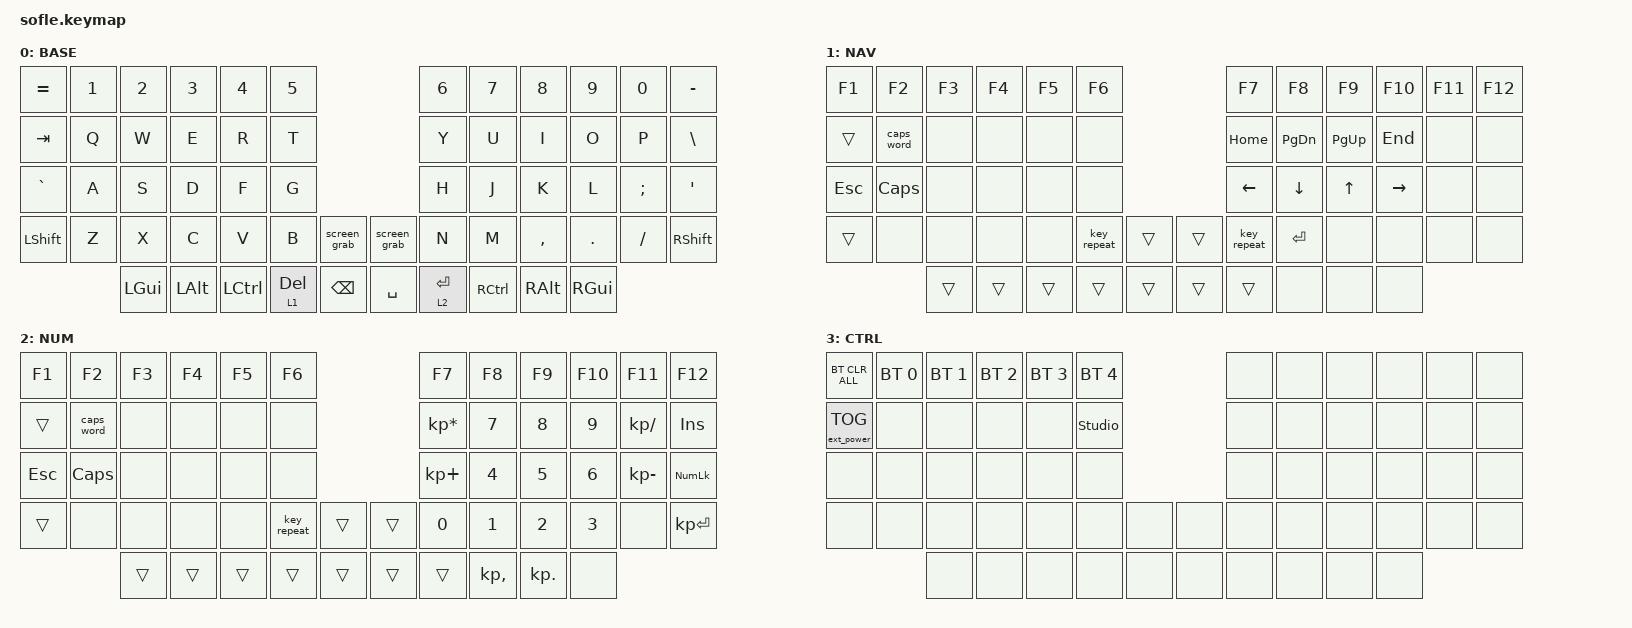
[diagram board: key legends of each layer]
/*
 * Copyright (c) 2020 The ZMK Contributors
 *
 * SPDX-License-Identifier: MIT
 */

#include <behaviors.dtsi>
#include <dt-bindings/zmk/bt.h>
#include <dt-bindings/zmk/ext_power.h>
#include <dt-bindings/zmk/keys.h>

#define BASE 0
#define LOWER 1
#define RAISE 2
#define ADJUST 3
#define extra_layer 4

/ {
    // Activate ADJUST layer by pressing raise and lower

    conditional_layers {
        compatible = "zmk,conditional-layers";

        control {
            if-layers = <1 2>;
            then-layer = <3>;
        };
    };

    combos {
        compatible = "zmk,combos";

        l_bracket {
            bindings = <&kp LEFT_BRACKET>;
            key-positions = <27 26>;
            layers = <0>;
        };

        r_bracket {
            bindings = <&kp RIGHT_BRACKET>;
            key-positions = <32 33>;
            layers = <0>;
        };

        escape {
            bindings = <&kp ESC>;
            key-positions = <15 14>;
            layers = <0>;
        };

        enter {
            bindings = <&kp ENTER>;
            key-positions = <46 47>;
            layers = <0>;
        };
    };

    behaviors {
        layer_switch: layer_switch {
            compatible = "zmk,behavior-tap-dance";
            label = "LAYER_SWITCH";
            #binding-cells = <0>;
            bindings = <&mo 1>, <&mo 3>;
        };

        screen_grab: screen_grab {
            compatible = "zmk,behavior-tap-dance";
            label = "SCREEN_GRAB";
            #binding-cells = <0>;
            bindings =
                <&kp LG(LS(F13))>,
                <&kp LG(F13)>,
                <&kp F13>,
                <&none>,
                <&soft_off>;
        };
    };

    keymap {
        compatible = "zmk,keymap";

        base {
            display-name = "BASE";

            // ------------------------------------------------------------------------------------------------------------
            // |   `   |  1  |  2  |  3   |  4   |  5   |                   |  6   |  7    |  8    |  9   |   0   |       |
            // |  ESC  |  Q  |  W  |  E   |  R   |  T   |                   |  Y   |  U    |  I    |  O   |   P   | BKSPC |
            // |  TAB  |  A  |  S  |  D   |  F   |  G   |                   |  H   |  J    |  K    |  L   |   ;   |   '   |
            // | SHIFT |  Z  |  X  |  C   |  V   |  B   |  MUTE  |  |       |  N   |  M    |  ,    |  .   |   /   | SHIFT |
            //               | GUI | ALT  | CTRL | LOWER|  ENTER |  | SPACE | RAISE| CTRL  | ALT   | GUI  |

            bindings = <
&kp EQUAL       &kp N1  &kp N2        &kp N3        &kp N4            &kp N5                                    &kp N6       &kp N7             &kp N8         &kp N9         &kp N0    &kp MINUS
&kp TAB         &kp Q   &kp W         &kp E         &kp R             &kp T                                     &kp Y        &kp U              &kp I          &kp O          &kp P     &kp BACKSLASH
&kp GRAVE       &kp A   &kp S         &kp D         &kp F             &kp G                                     &kp H        &kp J              &kp K          &kp L          &kp SEMI  &kp APOS
&kp LEFT_SHIFT  &kp Z   &kp X         &kp C         &kp V             &kp B      &screen_grab     &screen_grab  &kp N        &kp M              &kp COMMA      &kp DOT        &kp FSLH  &kp RSHFT
                        &kp LEFT_GUI  &kp LEFT_ALT  &kp LEFT_CONTROL  &lt 1 DEL  &kp BACKSPACE    &kp SPACE     &lt 2 ENTER  &kp RIGHT_CONTROL  &kp RIGHT_ALT  &kp RIGHT_GUI
            >;
        };

        navigation {
            display-name = "NAV";

            // TODO: Some binds are waiting for shifted keycode support.
            // ------------------------------------------------------------------------------------------------------------
            // |       |  F1 |  F2 |  F3  |  F4  |  F5  |                   |  F6  |  F7   |  F8   |  F9  |  F10  |  F11  |
            // |   `   |  1  |  2  |  3   |  4   |  5   |                   |  6   |  7    |  8    |  9   |   0   |  F12  |
            // |       |  !  |  @  |  #   |  $   |  %   |                   |  ^   |  &    |  *    |  (   |   )   |   |   |
            // |       |  =  |  -  |  +   |  {   |  }   |        |  |       |  [   |  ]    |  ;    |  :   |   \   |       |
            //               |     |      |      |      |        |  |       |      |       |       |      |

            bindings = <
&kp F1      &kp F2      &kp F3  &kp F4  &kp F5  &kp F6                         &kp F7       &kp F8          &kp F9        &kp F10    &kp F11  &kp F12
&trans      &caps_word  &none   &none   &none   &none                          &kp HOME     &kp PAGE_DOWN   &kp PAGE_UP   &kp END    &none    &none
&kp ESCAPE  &kp CAPS    &none   &none   &none   &none                          &kp LEFT     &kp DOWN_ARROW  &kp UP_ARROW  &kp RIGHT  &none    &none
&trans      &none       &none   &none   &none   &key_repeat  &trans    &trans  &key_repeat  &kp ENTER       &none         &none      &none    &none
                        &trans  &trans  &trans  &trans       &trans    &trans  &trans       &none           &none         &none
            >;
        };

        numpad {
            display-name = "NUM";
            bindings = <
&kp F1   &kp F2        &kp F3  &kp F4  &kp F5  &kp F6                         &kp F7           &kp F8        &kp F9      &kp F10  &kp F11          &kp F12
&trans   &caps_word    &none   &none   &none   &none                          &kp KP_MULTIPLY  &kp N7        &kp N8      &kp N9   &kp KP_DIVIDE    &kp INS
&kp ESC  &kp CAPSLOCK  &none   &none   &none   &none                          &kp KP_PLUS      &kp N4        &kp N5      &kp N6   &kp KP_SUBTRACT  &kp KP_NUM
&trans   &none         &none   &none   &none   &key_repeat  &trans    &trans  &kp N0           &kp N1        &kp N2      &kp N3   &none            &kp KP_ENTER
                       &trans  &trans  &trans  &trans       &trans    &trans  &trans           &kp KP_COMMA  &kp KP_DOT  &none
            >;
        };

        control {
            // ----------------------------------------------------------------------------------------------------------------------------
            // | BTCLR  |  BT1    |  BT2    |   BT3   |   BT4   |   BT5   |                  |      |      |       |      |       |       |
            // | EXTPWR | RGB_HUD | RGB_HUI | RGB_SAD | RGB_SAI | RGB_EFF |                  |      |      |       |      |       |       |
            // |        | RGB_BRD | RGB_BRI |         |         |         |                  |      |      |       |      |       |       |
            // |        |         |         |         |         |         | RGB_TOG | |      |      |      |       |      |       |       |
            //                    |         |         |         |         |         | |      |      |      |       |      |

            display-name = "CTRL";
            bindings = <
&bt BT_CLR_ALL     &bt BT_SEL 0  &bt BT_SEL 1  &bt BT_SEL 2  &bt BT_SEL 3  &bt BT_SEL 4                    &none  &none  &none  &none  &none  &none
&ext_power EP_TOG  &none         &none         &none         &none         &studio_unlock                  &none  &none  &none  &none  &none  &none
&none              &none         &none         &none         &none         &none                           &none  &none  &none  &none  &none  &none
&none              &none         &none         &none         &none         &none           &none    &none  &none  &none  &none  &none  &none  &none
                                 &none         &none         &none         &none           &none    &none  &none  &none  &none  &none
            >;
        };
    };
};
